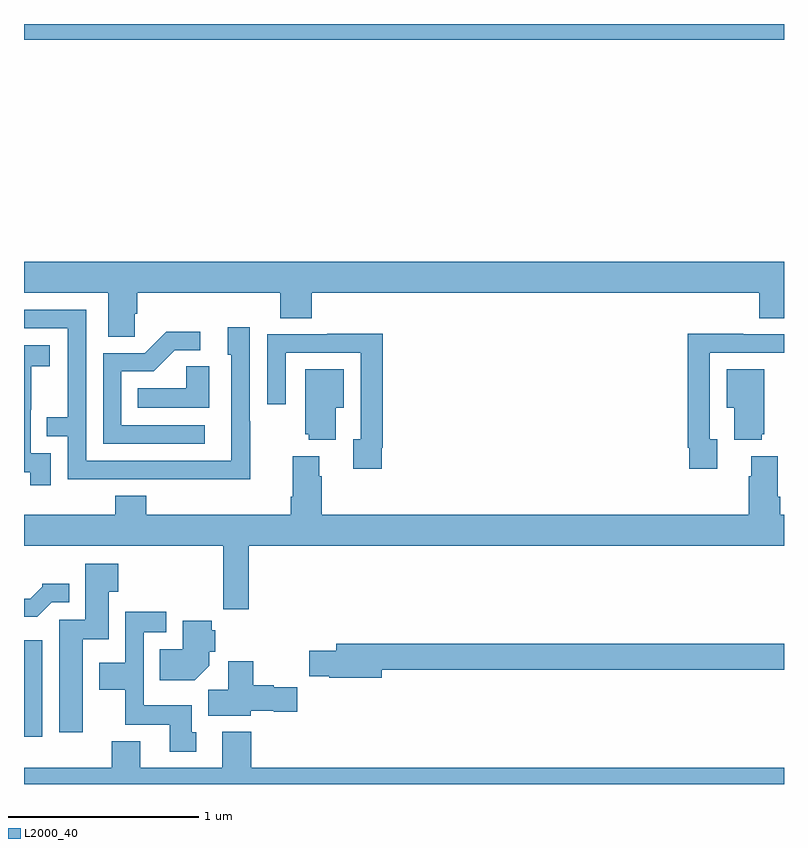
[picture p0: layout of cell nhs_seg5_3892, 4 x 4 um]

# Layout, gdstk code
import gdstk
lib = gdstk.Library(unit=1e-6, precision=1e-09)
def R(c, l, rs):  # rectangles x0, y0, x1, y1
    for r in rs: c.add(gdstk.rectangle(r[:2], r[2:], *l))
def P(c, l, *ps):  # polygons
    for p in ps: c.add(gdstk.Polygon(p, *l))
L2000_40 = (2000, 40)

nhs_seg5_3892 = lib.new_cell('nhs_seg5_3892')
R(nhs_seg5_3892, L2000_40, [(339,897.048,339.097,897.556), (339,900.716,343,900.799)])
P(nhs_seg5_3892, L2000_40, [(339.582,899.275),(339.596,899.275),(339.596,899.384),(340.349,899.384),(340.349,899.251),(340.514,899.251),(340.514,899.384),(342.869,899.384),(342.869,899.251),(343,899.251),(343,899.548),(339,899.548),(339,899.384),(339.443,899.384),(339.443,899.152),(339.582,899.152)],
  [(340.191,898.709),(340.188,898.709),(340.188,899.203),(340.073,899.203),(340.073,899.058),(340.092,899.058),(340.092,898.5),(339.327,898.5),(339.327,899.295),(339,899.295),(339,899.199),(339.231,899.199),(339.231,898.73),(339.121,898.73),(339.121,898.629),(339.231,898.629),(339.231,898.404),(339.727,898.404),(339.727,898.403),(340.191,898.403)],
  [(339.952,898.686),(339.513,898.686),(339.513,898.971),(339.682,898.971),(339.793,899.082),(339.928,899.082),(339.928,899.18),(339.749,899.18),(339.636,899.067),(339.417,899.067),(339.417,898.59),(339.952,898.59)],
  [(340.882,898.57),(340.889,898.57),(340.889,899.168),(340.597,899.168),(340.597,899.166),(340.281,899.166),(340.281,898.797),(340.377,898.797),(340.377,899.07),(340.773,899.07),(340.773,898.614),(340.733,898.614),(340.733,898.458),(340.882,898.458)],
  [(342.649,898.614),(342.609,898.614),(342.609,899.07),(343,899.07),(343,899.166),(342.785,899.166),(342.785,899.168),(342.493,899.168),(342.493,898.57),(342.501,898.57),(342.501,898.458),(342.649,898.458)],
  [(339.141,898.539),(339.036,898.539),(339.036,898.769),(339.038,898.769),(339.038,898.997),(339.136,898.997),(339.136,899.107),(339,899.107),(339,898.441),(339.033,898.441),(339.033,898.371),(339.141,898.371)],
  [(339.976,898.997),(339.855,898.997),(339.855,898.882),(339.598,898.882),(339.598,898.778),(339.976,898.778)],
  [(340.642,898.778),(340.684,898.778),(340.684,898.981),(340.481,898.981),(340.481,898.641),(340.499,898.641),(340.499,898.61),(340.642,898.61)],
  [(342.884,898.641),(342.895,898.641),(342.895,898.981),(342.698,898.981),(342.698,898.778),(342.737,898.778),(342.737,898.61),(342.884,898.61)],
  [(340.184,898.052),(343,898.052),(343,898.216),(342.98,898.216),(342.98,898.312),(342.967,898.312),(342.967,898.525),(342.827,898.525),(342.827,898.418),(342.815,898.418),(342.815,898.216),(340.568,898.216),(340.568,898.418),(340.555,898.418),(340.555,898.525),(340.415,898.525),(340.415,898.312),(340.403,898.312),(340.403,898.216),(339.644,898.216),(339.644,898.315),(339.479,898.315),(339.479,898.216),(339,898.216),(339,898.052),(340.048,898.052),(340.048,897.72),(340.184,897.72)],
  [(339.31,897.56),(339.445,897.56),(339.445,897.811),(339.497,897.811),(339.497,897.958),(339.323,897.958),(339.323,897.663),(339.185,897.663),(339.185,897.072),(339.31,897.072)],
  [(339.147,897.756),(339.238,897.756),(339.238,897.853),(339.096,897.853),(339.096,897.838),(339.032,897.774),(339,897.774),(339,897.68),(339.071,897.68)],
  [(339.907,897.072),(339.883,897.072),(339.883,897.214),(339.63,897.214),(339.63,897.597),(339.748,897.597),(339.748,897.706),(339.534,897.706),(339.534,897.436),(339.395,897.436),(339.395,897.296),(339.532,897.296),(339.532,897.11),(339.767,897.11),(339.767,896.97),(339.907,896.97)],
  [(339.976,897.422),(339.976,897.495),(340.007,897.495),(340.007,897.609),(339.989,897.609),(339.989,897.658),(339.836,897.658),(339.836,897.508),(339.715,897.508),(339.715,897.344),(339.898,897.344)],
  [(340.882,897.4),(343,897.4),(343,897.536),(340.643,897.536),(340.643,897.5),(340.501,897.5),(340.501,897.366),(340.606,897.366),(340.606,897.358),(340.882,897.358)],
  [(340.194,897.185),(340.314,897.185),(340.314,897.178),(340.439,897.178),(340.439,897.308),(340.314,897.308),(340.314,897.32),(340.206,897.32),(340.206,897.445),(340.076,897.445),(340.076,897.296),(339.971,897.296),(339.971,897.158),(340.194,897.158)],
  [(343,896.884),(340.196,896.884),(340.196,897.073),(340.043,897.073),(340.043,896.884),(339.613,896.884),(339.613,897.025),(339.461,897.025),(339.461,896.884),(339,896.884),(339,896.799),(343,896.799)])

lib.write_gds('nhs_seg5_3892.gds')
